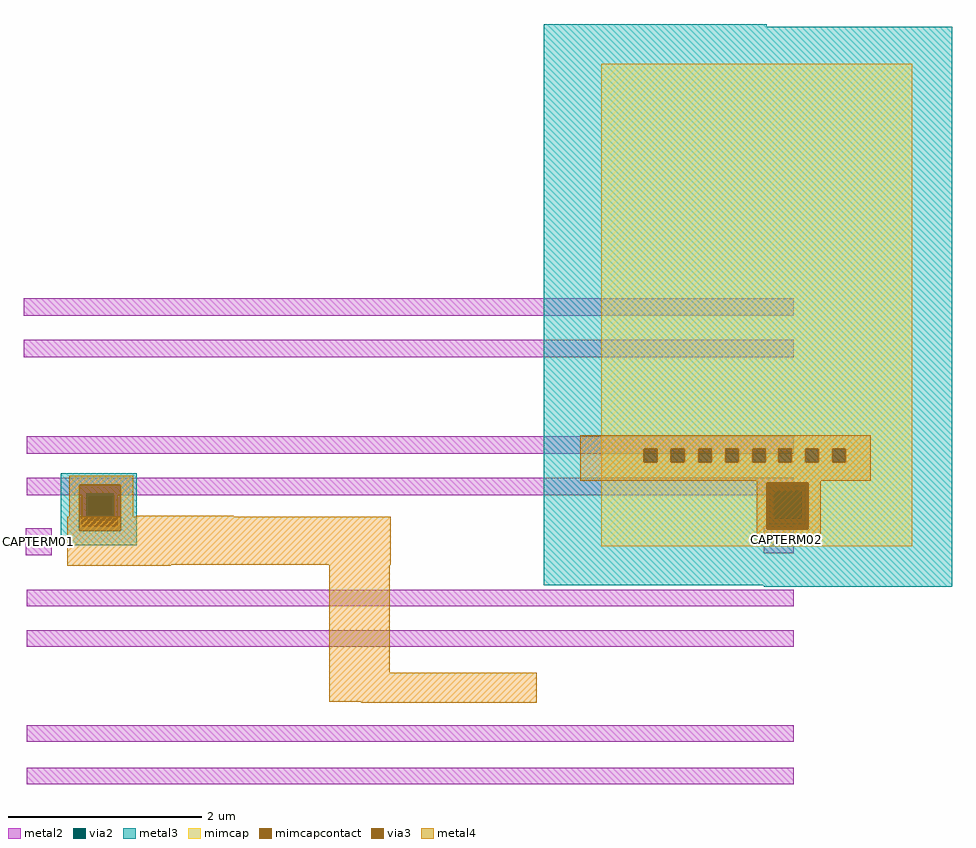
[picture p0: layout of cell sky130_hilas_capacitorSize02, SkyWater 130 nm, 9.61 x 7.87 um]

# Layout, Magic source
magic
tech sky130A
<< metal2 >>
rect 0 485 797 503
rect 0 442 797 460
rect 3 342 797 360
rect 3 299 797 317
rect 2 237 29 265
rect 766 239 797 267
rect 3 184 797 201
rect 3 142 797 159
rect 3 44 797 61
rect 3 0 797 17
<< metal3 >>
rect 568 227 766 288
rect 568 226 764 227
rect 765 226 766 227
rect 568 213 766 226
<< metal4 >>
rect 116 277 217 278
rect 45 227 380 277
rect 45 226 152 227
rect 316 115 379 227
rect 316 85 531 115
rect 349 84 531 85
use sky130_hilas_CapModule03  sky130_hilas_CapModule03_0
transform 1 0 538 0 1 204
box 0 0 423 583
use sky130_hilas_m22m4  sky130_hilas_m22m4_1
transform 1 0 750 0 1 249
box 0 0 79 75
use sky130_hilas_m22m4  sky130_hilas_m22m4_0
transform 1 0 38 0 1 247
box 0 0 79 75
<< labels >>
rlabel metal2 2 237 9 265 0 CAPTERM01
port 2 nsew analog default
rlabel metal2 782 239 797 267 0 CAPTERM02
port 1 nsew analog default
<< properties >>
string LEFsite unithd
string LEFclass CORE
string LEFsymmetry X Y R90
<< end >>

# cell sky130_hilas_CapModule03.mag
magic
tech sky130A
<< metal3 >>
rect 0 580 231 583
rect 0 2 423 580
rect 228 0 423 2
<< mimcap >>
rect 60 143 382 542
rect 60 129 104 143
rect 118 129 132 143
rect 146 129 160 143
rect 174 129 188 143
rect 202 129 216 143
rect 230 129 243 143
rect 257 129 271 143
rect 285 129 299 143
rect 313 129 382 143
rect 60 42 382 129
<< mimcapcontact >>
rect 104 129 118 143
rect 132 129 146 143
rect 160 129 174 143
rect 188 129 202 143
rect 216 129 230 143
rect 243 129 257 143
rect 271 129 285 143
rect 299 129 313 143
<< metal4 >>
rect 38 143 339 157
rect 38 129 104 143
rect 118 129 132 143
rect 146 129 160 143
rect 174 129 188 143
rect 202 129 216 143
rect 230 129 243 143
rect 257 129 271 143
rect 285 129 299 143
rect 313 129 339 143
rect 38 110 339 129
<< properties >>
string LEFsite unithd
string LEFclass CORE
string LEFsymmetry X Y R90
<< end >>

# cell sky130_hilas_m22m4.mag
magic
tech sky130A
<< metal2 >>
rect 22 54 59 60
rect 22 26 27 54
rect 55 26 59 54
rect 22 20 59 26
<< via2 >>
rect 27 26 55 54
<< metal3 >>
rect 0 63 79 75
rect 0 15 19 63
rect 62 15 79 63
rect 0 0 79 15
<< via3 >>
rect 19 54 62 63
rect 19 26 27 54
rect 27 26 55 54
rect 55 26 62 54
rect 19 15 62 26
<< metal4 >>
rect 9 63 75 72
rect 9 15 19 63
rect 62 15 75 63
rect 9 6 75 15
<< properties >>
string LEFsite unithd
string LEFclass CORE
string LEFsymmetry X Y R90
<< end >>
